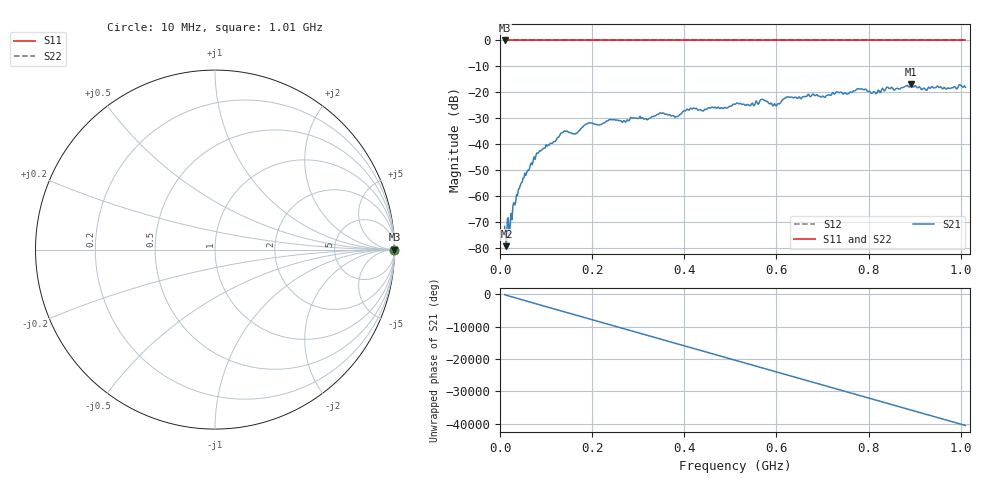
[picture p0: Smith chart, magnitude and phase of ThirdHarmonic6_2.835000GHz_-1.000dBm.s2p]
! 8/17/2025 7:35:05 AM
! C:\ANRITSUVNA\TEMP\TEMP.S2P
! CHANNEL.1
! TR.MEASUREMENT
! RAW.DATA
! RF.CORRECTION.OFF
! AVERAGING.OFF
! IF.BANDWIDTH: 5KHZ
! SWEEPTYPE:  FREQ.SWEEP(Linear)
! Reference Plane Port Info
! PORT:  PORT1  PORT2
! DISTANCE:  0  m  0  m
! TIME:  0  s  0  s
! PHASE.OFFSET:  0  deg.  0  deg.
! LOSS:  0  dB  0  dB
! REF.LOSS:  0  dB  0  dB
! REF.FREQ:  0  Hz  0  Hz
! Power Info
! POWER:  -20  dBm  -20  dBm
! EFF.POWER:  -20  dBm  -20  dBm
! SOURCE.ATTEN:  0  dB  0  dB
! TEST.ATTEN:  0  dB  0  dB
# GHZ S RI R 50.0
! FREQ.GHZ  S11RE  S11IM  S21RE  S21IM  S12RE  S12IM  S22RE  S22IM
!; PortSelection: Port_12
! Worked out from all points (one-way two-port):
!   501 points, 10 MHz to 1.01 GHz, reference 50 ohm
!   highest |S21| = -16.80 dB at 892 MHz (marker M1); lowest = -79.2 dB at 14 MHz (marker M2)
!   lowest |S11| = 0.0 dB at 10 MHz (marker M3)
!   |S11| at or under -10 dB: nowhere
!   |S22| runs from 0.0 to 0.0 dB; largest |S21 - S12| = 1.1
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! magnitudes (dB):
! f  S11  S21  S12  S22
! 10 MHz  0.0  -71.6  0.0  0.0
! 14 MHz  0.0  -79.2  0.0  0.0
! 18 MHz  0.0  -68.3  0.0  0.0
! 32 MHz  0.0  -63.4  0.0  0.0
! 50 MHz  0.0  -53.0  0.0  0.0
! 82 MHz  0.0  -43.5  0.0  0.0
! 136 MHz  0.0  -35.5  0.0  0.0
! 164 MHz  0.0  -36.0  0.0  0.0
! 178 MHz  0.0  -33.6  0.0  0.0
! 344 MHz  0.0  -28.4  0.0  0.0
! 384 MHz  0.0  -29.3  0.0  0.0
! 416 MHz  0.0  -26.3  0.0  0.0
! 510 MHz  0.0  -24.6  0.0  0.0
! 570 MHz  0.0  -22.7  0.0  0.0
! 596 MHz  0.0  -24.3  0.0  0.0
! 622 MHz  0.0  -21.7  0.0  0.0
! 678 MHz  0.0  -20.7  0.0  0.0
! 780 MHz  0.0  -18.7  0.0  0.0
! 814 MHz  0.0  -20.0  0.0  0.0
! 844 MHz  0.0  -18.4  0.0  0.0
! 892 MHz  0.0  -16.8  0.0  0.0
! 1.01 GHz  0.0  -18.0  0.0  0.0
